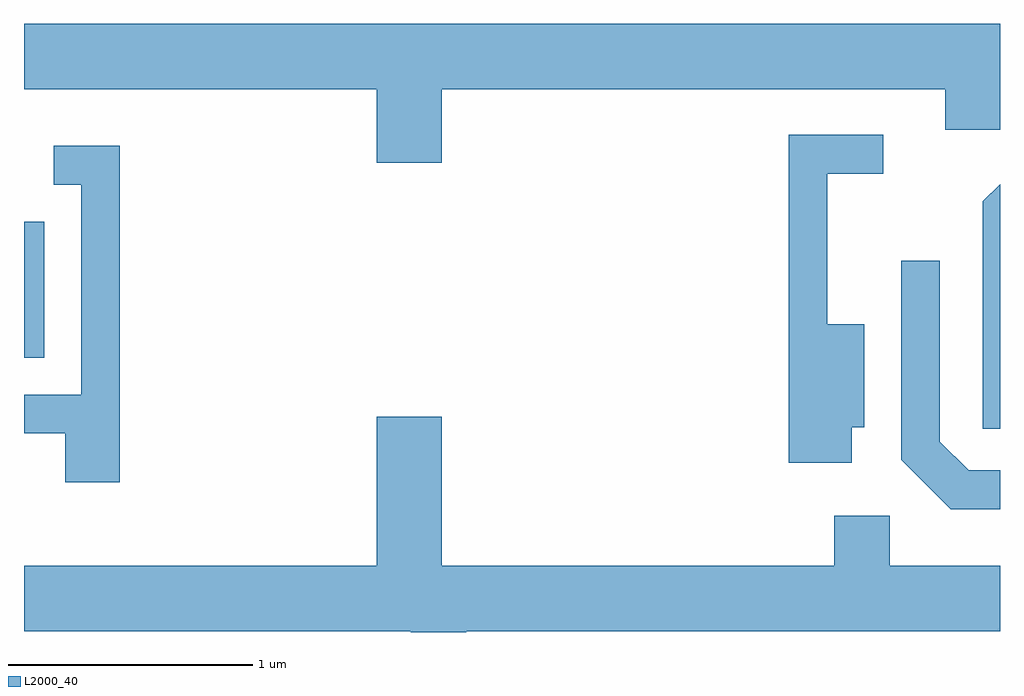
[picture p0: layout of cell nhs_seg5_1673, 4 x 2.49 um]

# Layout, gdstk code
import gdstk
lib = gdstk.Library(unit=1e-6, precision=1e-09)
def R(c, l, rs):  # rectangles x0, y0, x1, y1
    for r in rs: c.add(gdstk.rectangle(r[:2], r[2:], *l))
def P(c, l, *ps):  # polygons
    for p in ps: c.add(gdstk.Polygon(p, *l))
L2000_40 = (2000, 40)

nhs_seg5_1673 = lib.new_cell('nhs_seg5_1673')
R(nhs_seg5_1673, L2000_40, [(233.611,1511.196,233.694,1511.754)])
P(nhs_seg5_1673, L2000_40, [(235.324,1512.296),(237.386,1512.296),(237.386,1512.131),(237.611,1512.131),(237.611,1512.564),(233.611,1512.564),(233.611,1512.296),(235.056,1512.296),(235.056,1511.996),(235.324,1511.996)],
  [(237.004,1510.911),(237.054,1510.911),(237.054,1511.334),(236.904,1511.334),(236.904,1511.951),(237.133,1511.951),(237.133,1512.109),(236.746,1512.109),(236.746,1510.766),(237.004,1510.766)],
  [(234.004,1512.064),(233.733,1512.064),(233.733,1511.906),(233.846,1511.906),(233.846,1511.044),(233.611,1511.044),(233.611,1510.886),(233.781,1510.886),(233.781,1510.686),(234.004,1510.686)],
  [(237.611,1511.907),(237.541,1511.837),(237.541,1510.906),(237.611,1510.906)],
  [(237.611,1510.734),(237.482,1510.734),(237.364,1510.852),(237.364,1511.593),(237.206,1511.593),(237.206,1510.779),(237.409,1510.576),(237.611,1510.576)],
  [(235.324,1510.954),(235.056,1510.954),(235.056,1510.344),(233.611,1510.344),(233.611,1510.076),(235.196,1510.076),(235.196,1510.072),(235.424,1510.072),(235.424,1510.076),(237.611,1510.076),(237.611,1510.344),(237.159,1510.344),(237.159,1510.549),(236.931,1510.549),(236.931,1510.344),(235.324,1510.344)])

lib.write_gds('nhs_seg5_1673.gds')
